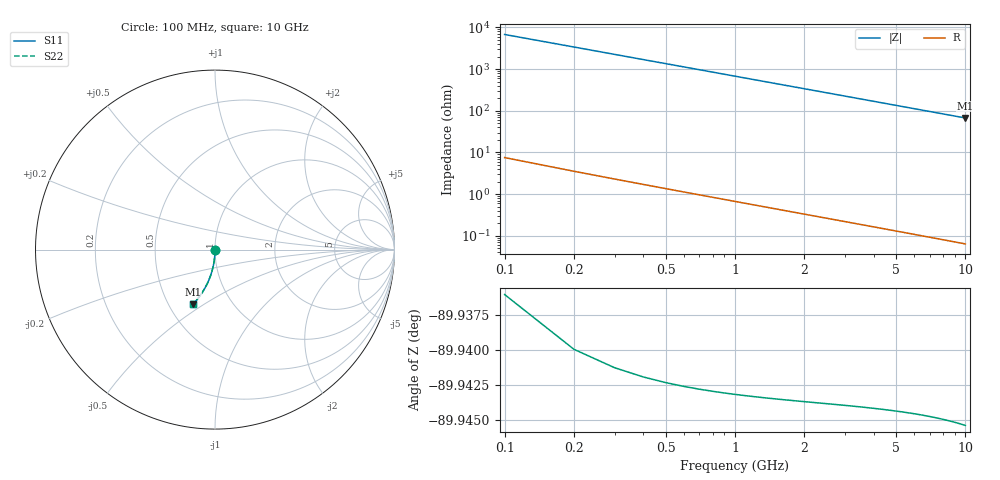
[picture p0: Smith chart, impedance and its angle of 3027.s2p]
# Hz S RI R 50.00
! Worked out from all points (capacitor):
!   100 points, 100 MHz to 10 GHz, reference 50 ohm
!   read as one part in shunt: C = 235 fF near 100 MHz
!   lowest |Z| = 67.3 ohm at 10 GHz (marker M1)
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1e8  6.68e-05 -0.00345  0.9999 -0.00394  0.9999 -0.00394  6.68e-05 -0.00345
2e8  2.3e-05 -0.0069  0.9999 -0.00787  0.9999 -0.00787  2.3e-05 -0.0069
3e8  -4.81e-05 -0.0103  0.9998 -0.0118  0.9998 -0.0118  -4.81e-05 -0.0103
4e8  -0.000146 -0.0138  0.9997 -0.0157  0.9997 -0.0157  -0.000146 -0.0138
5e8  -0.000272 -0.0172  0.9996 -0.0197  0.9996 -0.0197  -0.000272 -0.0172
6e8  -0.000425 -0.0207  0.9994 -0.0236  0.9994 -0.0236  -0.000425 -0.0207
7e8  -0.000604 -0.0241  0.9992 -0.0275  0.9992 -0.0275  -0.000604 -0.0241
8e8  -0.000811 -0.0276  0.999 -0.0315  0.999 -0.0315  -0.000811 -0.0276
9e8  -0.00105 -0.031  0.9988 -0.0354  0.9988 -0.0354  -0.00105 -0.031
1.1e9  -0.0016 -0.0379  0.9982 -0.0433  0.9982 -0.0433  -0.0016 -0.0379
1.4e9  -0.00262 -0.0482  0.9972 -0.055  0.9972 -0.055  -0.00262 -0.0482
1.8e9  -0.00437 -0.0619  0.9954 -0.0706  0.9954 -0.0706  -0.00437 -0.0619
2.1e9  -0.00596 -0.0721  0.9938 -0.0823  0.9938 -0.0823  -0.00596 -0.0721
2.5e9  -0.00845 -0.0856  0.9913 -0.0978  0.9913 -0.0978  -0.00845 -0.0856
2.9e9  -0.0114 -0.0991  0.9884 -0.1132  0.9884 -0.1132  -0.0114 -0.0991
3.4e9  -0.0156 -0.1157  0.9841 -0.1323  0.9841 -0.1323  -0.0156 -0.1157
4.2e9  -0.0237 -0.1418  0.9759 -0.1624  0.9759 -0.1624  -0.0237 -0.1418
5.1e9  -0.0346 -0.1704  0.9649 -0.1954  0.9649 -0.1954  -0.0346 -0.1704
5.9e9  -0.0459 -0.1949  0.9535 -0.2238  0.9535 -0.2238  -0.0459 -0.1949
6.7e9  -0.0585 -0.2184  0.9407 -0.2514  0.9407 -0.2514  -0.0585 -0.2184
8.4e9  -0.0895 -0.2649  0.9095 -0.3064  0.9095 -0.3064  -0.0895 -0.2649
1e10  -0.1228 -0.3037  0.8758 -0.3533  0.8758 -0.3533  -0.1228 -0.3037
